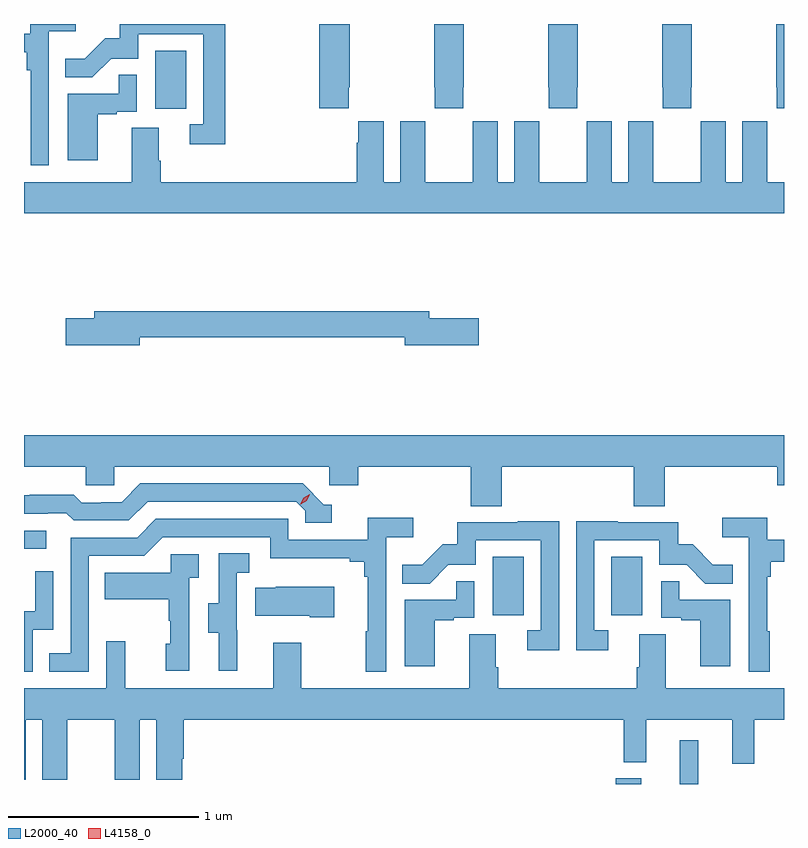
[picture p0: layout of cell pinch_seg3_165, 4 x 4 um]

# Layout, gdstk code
import gdstk
lib = gdstk.Library(unit=1e-6, precision=1e-09)
def R(c, l, rs):  # rectangles x0, y0, x1, y1
    for r in rs: c.add(gdstk.rectangle(r[:2], r[2:], *l))
def P(c, l, *ps):  # polygons
    for p in ps: c.add(gdstk.Polygon(p, *l))
L2000_40 = (2000, 40)
L4158_0 = (4158, 0)

pinch_seg3_165 = lib.new_cell('pinch_seg3_165')
R(pinch_seg3_165, L2000_40, [(1105.514,707.237,1105.648,707.266), (1105.851,707.237,1105.948,707.467), (1104.866,708.126,1105.03,708.433), (1105.49,708.126,1105.654,708.433), (1102.399,708.474,1102.516,708.57), (1103.09,710.79,1103.254,711.097)])
P(pinch_seg3_165, L2000_40, [(1102.53,711.2),(1102.672,711.2),(1102.672,711.237),(1102.433,711.237),(1102.433,711.186),(1102.399,711.186),(1102.399,711.089),(1102.414,711.089),(1102.414,710.993),(1102.434,710.993),(1102.434,710.493),(1102.53,710.493)],
  [(1103.459,711.237),(1102.903,711.237),(1102.903,711.162),(1102.826,711.162),(1102.719,711.055),(1102.615,711.055),(1102.615,710.956),(1102.759,710.956),(1102.857,711.054),(1103.001,711.054),(1103.001,711.183),(1103.343,711.183),(1103.343,710.709),(1103.271,710.709),(1103.271,710.604),(1103.459,710.604)],
  [(1106.399,711.237),(1106.359,711.237),(1106.359,710.905),(1106.361,710.905),(1106.361,710.793),(1106.399,710.793)],
  [(1105.911,710.905),(1105.914,710.905),(1105.914,711.237),(1105.759,711.237),(1105.759,710.905),(1105.761,710.905),(1105.761,710.793),(1105.911,710.793)],
  [(1105.311,710.905),(1105.314,710.905),(1105.314,711.237),(1105.159,711.237),(1105.159,710.905),(1105.161,710.905),(1105.161,710.793),(1105.311,710.793)],
  [(1104.711,710.905),(1104.714,710.905),(1104.714,711.237),(1104.559,711.237),(1104.559,710.905),(1104.561,710.905),(1104.561,710.793),(1104.711,710.793)],
  [(1104.107,710.905),(1104.114,710.905),(1104.114,711.237),(1103.954,711.237),(1103.954,710.793),(1104.107,710.793)],
  [(1102.786,710.763),(1102.886,710.763),(1102.886,710.775),(1102.992,710.775),(1102.992,710.969),(1102.897,710.969),(1102.897,710.871),(1102.628,710.871),(1102.628,710.52),(1102.786,710.52)],
  [(1104.762,710.725),(1104.762,710.612),(1104.761,710.612),(1104.761,710.404),(1104.511,710.404),(1104.511,710.612),(1104.51,710.612),(1104.51,710.725),(1104.38,710.725),(1104.38,710.404),(1104.292,710.404),(1104.292,710.725),(1104.158,710.725),(1104.158,710.612),(1104.149,710.612),(1104.149,710.404),(1103.12,710.404),(1103.12,710.516),(1103.107,710.516),(1103.107,710.69),(1102.967,710.69),(1102.967,710.404),(1102.399,710.404),(1102.399,710.24),(1106.399,710.24),(1106.399,710.404),(1106.311,710.404),(1106.311,710.612),(1106.31,710.612),(1106.31,710.725),(1106.18,710.725),(1106.18,710.404),(1106.092,710.404),(1106.092,710.725),(1105.962,710.725),(1105.962,710.612),(1105.961,710.612),(1105.961,710.404),(1105.711,710.404),(1105.711,710.612),(1105.71,710.612),(1105.71,710.725),(1105.58,710.725),(1105.58,710.404),(1105.492,710.404),(1105.492,710.725),(1105.362,710.725),(1105.362,710.612),(1105.361,710.612),(1105.361,710.404),(1105.111,710.404),(1105.111,710.612),(1105.11,710.612),(1105.11,710.725),(1104.98,710.725),(1104.98,710.404),(1104.892,710.404),(1104.892,710.725)],
  [(1103.008,709.588),(1104.404,709.588),(1104.404,709.546),(1104.793,709.546),(1104.793,709.688),(1104.532,709.688),(1104.532,709.724),(1102.769,709.724),(1102.769,709.688),(1102.62,709.688),(1102.62,709.546),(1103.008,709.546)],
  [(1104.914,708.908),(1105.607,708.908),(1105.607,708.7),(1105.772,708.7),(1105.772,708.908),(1106.363,708.908),(1106.363,708.81),(1106.399,708.81),(1106.399,709.072),(1102.399,709.072),(1102.399,708.908),(1102.725,708.908),(1102.725,708.81),(1102.875,708.81),(1102.875,708.908),(1104.006,708.908),(1104.006,708.81),(1104.158,708.81),(1104.158,708.908),(1104.749,708.908),(1104.749,708.7),(1104.914,708.7)],
  [(1104.019,708.708),(1103.976,708.708),(1103.865,708.819),(1103.012,708.819),(1102.913,708.72),(1102.806,708.72),(1102.806,708.717),(1102.703,708.717),(1102.661,708.76),(1102.428,708.76),(1102.428,708.757),(1102.399,708.757),(1102.399,708.66),(1102.523,708.66),(1102.523,708.663),(1102.622,708.663),(1102.661,708.624),(1102.95,708.624),(1103.049,708.723),(1103.832,708.723),(1103.88,708.675),(1103.88,708.612),(1104.019,708.612)],
  [(1106.323,708.041),(1106.311,708.041),(1106.311,708.329),(1106.33,708.329),(1106.33,708.406),(1106.399,708.406),(1106.399,708.522),(1106.312,708.522),(1106.312,708.638),(1106.073,708.638),(1106.073,708.536),(1106.214,708.536),(1106.214,707.829),(1106.323,707.829)],
  [(1102.74,708.438),(1103.031,708.438),(1103.13,708.537),(1103.694,708.537),(1103.694,708.425),(1104.113,708.425),(1104.113,708.406),(1104.19,708.406),(1104.19,708.329),(1104.209,708.329),(1104.209,708.041),(1104.198,708.041),(1104.198,707.829),(1104.306,707.829),(1104.306,708.536),(1104.448,708.536),(1104.448,708.638),(1104.209,708.638),(1104.209,708.522),(1103.79,708.522),(1103.79,708.633),(1103.093,708.633),(1102.994,708.534),(1102.644,708.534),(1102.644,707.925),(1102.531,707.925),(1102.531,707.829),(1102.74,707.829)],
  [(1105.215,708.62),(1104.997,708.62),(1104.997,708.615),(1104.679,708.615),(1104.679,708.498),(1104.602,708.498),(1104.495,708.391),(1104.391,708.391),(1104.391,708.292),(1104.535,708.292),(1104.633,708.39),(1104.777,708.39),(1104.777,708.519),(1105.119,708.519),(1105.119,708.045),(1105.047,708.045),(1105.047,707.94),(1105.215,707.94)],
  [(1105.474,708.045),(1105.401,708.045),(1105.401,708.519),(1105.743,708.519),(1105.743,708.39),(1105.887,708.39),(1105.985,708.292),(1106.129,708.292),(1106.129,708.391),(1106.025,708.391),(1105.918,708.498),(1105.842,708.498),(1105.842,708.615),(1105.523,708.615),(1105.523,708.62),(1105.305,708.62),(1105.305,707.94),(1105.474,707.94)],
  [(1103.522,708.045),(1103.52,708.045),(1103.52,708.349),(1103.584,708.349),(1103.584,708.452),(1103.424,708.452),(1103.424,708.189),(1103.369,708.189),(1103.369,708.034),(1103.423,708.034),(1103.423,707.832),(1103.522,707.832)],
  [(1103.268,708.323),(1103.32,708.323),(1103.32,708.447),(1103.172,708.447),(1103.172,708.349),(1102.825,708.349),(1102.825,708.209),(1103.16,708.209),(1103.16,708.095),(1103.17,708.095),(1103.17,707.976),(1103.144,707.976),(1103.144,707.832),(1103.268,707.832)],
  [(1102.446,708.048),(1102.554,708.048),(1102.554,708.358),(1102.458,708.358),(1102.458,708.146),(1102.399,708.146),(1102.399,707.829),(1102.446,707.829)],
  [(1106.116,708.207),(1105.847,708.207),(1105.847,708.305),(1105.752,708.305),(1105.752,708.111),(1105.859,708.111),(1105.859,708.099),(1105.958,708.099),(1105.958,707.856),(1106.116,707.856)],
  [(1104.562,708.099),(1104.662,708.099),(1104.662,708.111),(1104.768,708.111),(1104.768,708.305),(1104.673,708.305),(1104.673,708.207),(1104.404,708.207),(1104.404,707.856),(1104.562,707.856)],
  [(1104.031,708.274),(1103.725,708.274),(1103.725,708.271),(1103.617,708.271),(1103.617,708.122),(1103.903,708.122),(1103.903,708.115),(1104.031,708.115)],
  [(1102.408,707.576),(1102.496,707.576),(1102.496,707.259),(1102.627,707.259),(1102.627,707.576),(1102.877,707.576),(1102.877,707.259),(1103.008,707.259),(1103.008,707.576),(1103.096,707.576),(1103.096,707.259),(1103.233,707.259),(1103.233,707.371),(1103.24,707.371),(1103.24,707.576),(1105.555,707.576),(1105.555,707.351),(1105.673,707.351),(1105.673,707.576),(1106.126,707.576),(1106.126,707.343),(1106.243,707.343),(1106.243,707.576),(1106.399,707.576),(1106.399,707.74),(1105.777,707.74),(1105.777,708.026),(1105.637,708.026),(1105.637,707.852),(1105.625,707.852),(1105.625,707.74),(1104.896,707.74),(1104.896,707.852),(1104.883,707.852),(1104.883,708.026),(1104.743,708.026),(1104.743,707.74),(1103.859,707.74),(1103.859,707.98),(1103.711,707.98),(1103.711,707.74),(1102.931,707.74),(1102.931,707.989),(1102.833,707.989),(1102.833,707.74),(1102.399,707.74),(1102.399,707.259),(1102.408,707.259)])
P(pinch_seg3_165, L4158_0, [(1103.854,708.71),(1103.854,708.71),(1103.871,708.743),(1103.902,708.762),(1103.902,708.762),(1103.902,708.762),(1103.886,708.729),(1103.855,708.71)])

lib.write_gds('pinch_seg3_165.gds')
